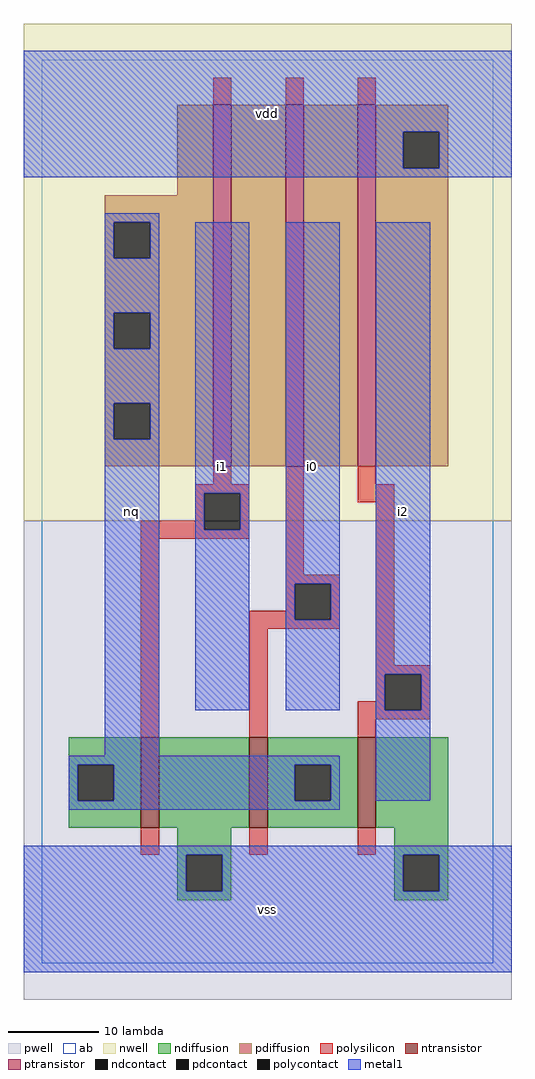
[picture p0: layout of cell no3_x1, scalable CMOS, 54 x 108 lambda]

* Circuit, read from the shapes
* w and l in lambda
.subckt no3_x1 i0 i1 i2 nq vdd vss
M1 vss i1 nq VSUBS nfet w=10 l=2
M2 nq i0 vss VSUBS nfet w=10 l=2
M3 vss i2 nq VSUBS nfet w=10 l=2
M4 n1 i1 nq n2 pfet w=40 l=2
M5 n3 i0 n1 n2 pfet w=40 l=2
M6 vdd i2 n3 n2 pfet w=40 l=2
.ends

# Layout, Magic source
magic
tech scmos
<< ab >>
rect 0 0 50 100
<< pwell >>
rect -2 -4 52 49
<< nwell >>
rect -2 49 52 104
<< polysilicon >>
rect 19 95 21 98
rect 27 95 29 98
rect 35 95 37 98
rect 19 53 21 55
rect 17 52 23 53
rect 17 49 18 52
rect 11 48 18 49
rect 22 48 23 52
rect 11 47 23 48
rect 11 25 13 47
rect 27 43 29 55
rect 35 53 37 55
rect 35 51 39 53
rect 27 42 33 43
rect 27 39 28 42
rect 23 38 28 39
rect 32 38 33 42
rect 23 37 33 38
rect 23 25 25 37
rect 37 33 39 51
rect 37 32 43 33
rect 37 29 38 32
rect 35 28 38 29
rect 42 28 43 32
rect 35 27 43 28
rect 35 25 37 27
rect 11 12 13 15
rect 23 12 25 15
rect 35 12 37 15
<< ndiffusion >>
rect 3 22 11 25
rect 3 18 4 22
rect 8 18 11 22
rect 3 15 11 18
rect 13 15 23 25
rect 25 22 35 25
rect 25 18 28 22
rect 32 18 35 22
rect 25 15 35 18
rect 37 15 45 25
rect 15 12 21 15
rect 39 12 45 15
rect 15 8 16 12
rect 20 8 21 12
rect 15 7 21 8
rect 39 8 40 12
rect 44 8 45 12
rect 39 7 45 8
<< pdiffusion >>
rect 15 85 19 95
rect 7 82 19 85
rect 7 78 8 82
rect 12 78 19 82
rect 7 72 19 78
rect 7 68 8 72
rect 12 68 19 72
rect 7 62 19 68
rect 7 58 8 62
rect 12 58 19 62
rect 7 55 19 58
rect 21 55 27 95
rect 29 55 35 95
rect 37 92 45 95
rect 37 88 40 92
rect 44 88 45 92
rect 37 55 45 88
<< metal1 >>
rect -2 92 52 101
rect -2 88 40 92
rect 44 88 52 92
rect -2 87 52 88
rect 7 82 13 83
rect 7 78 8 82
rect 12 78 13 82
rect 7 72 13 78
rect 7 68 8 72
rect 12 68 13 72
rect 7 62 13 68
rect 7 58 8 62
rect 12 58 13 62
rect 7 23 13 58
rect 17 52 23 82
rect 17 48 18 52
rect 22 48 23 52
rect 17 28 23 48
rect 27 42 33 82
rect 27 38 28 42
rect 32 38 33 42
rect 27 28 33 38
rect 37 32 43 82
rect 37 28 38 32
rect 42 28 43 32
rect 3 22 33 23
rect 3 18 4 22
rect 8 18 28 22
rect 32 18 33 22
rect 37 18 43 28
rect 3 17 33 18
rect -2 12 52 13
rect -2 8 16 12
rect 20 8 40 12
rect 44 8 52 12
rect -2 -1 52 8
<< ntransistor >>
rect 11 15 13 25
rect 23 15 25 25
rect 35 15 37 25
<< ptransistor >>
rect 19 55 21 95
rect 27 55 29 95
rect 35 55 37 95
<< polycontact >>
rect 18 48 22 52
rect 28 38 32 42
rect 38 28 42 32
<< ndcontact >>
rect 4 18 8 22
rect 28 18 32 22
rect 16 8 20 12
rect 40 8 44 12
<< pdcontact >>
rect 8 78 12 82
rect 8 68 12 72
rect 8 58 12 62
rect 40 88 44 92
<< labels >>
rlabel metal1 10 50 10 50 6 nq
rlabel metal1 10 50 10 50 6 nq
rlabel metal1 20 55 20 55 6 i1
rlabel metal1 20 55 20 55 6 i1
rlabel metal1 25 6 25 6 6 vss
rlabel metal1 25 6 25 6 6 vss
rlabel metal1 30 55 30 55 6 i0
rlabel metal1 30 55 30 55 6 i0
rlabel metal1 25 94 25 94 6 vdd
rlabel metal1 25 94 25 94 6 vdd
rlabel metal1 40 50 40 50 6 i2
rlabel metal1 40 50 40 50 6 i2
<< end >>
